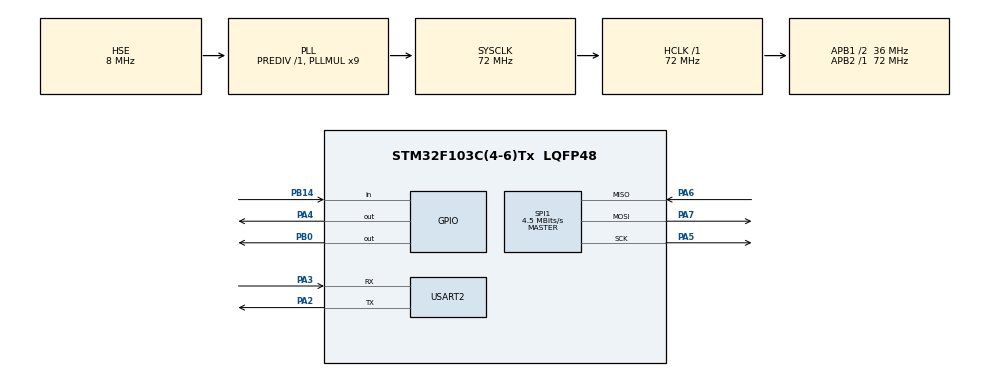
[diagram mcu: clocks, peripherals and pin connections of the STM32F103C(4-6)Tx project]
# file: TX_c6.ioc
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Mcu.Family=STM32F1
Mcu.Name=STM32F103C(4-6)Tx
Mcu.Package=LQFP48
NVIC.PriorityGroup=NVIC_PRIORITYGROUP_4
PA13.Mode=Serial_Wire
PA13.Signal=SYS_JTMS-SWDIO
PA14.Mode=Serial_Wire
PA14.Signal=SYS_JTCK-SWCLK
PA2.Mode=Asynchronous
PA2.Signal=USART2_TX
PA3.Mode=Asynchronous
PA3.Signal=USART2_RX
PA4.Signal=GPIO_Output
PA5.Mode=Full_Duplex_Master
PA5.Signal=SPI1_SCK
PA6.Mode=Full_Duplex_Master
PA6.Signal=SPI1_MISO
PA7.Mode=Full_Duplex_Master
PA7.Signal=SPI1_MOSI
PB0.Signal=GPIO_Output
PB14.GPIO_PuPd=GPIO_PULLDOWN
PB14.Signal=GPIO_Input
PD0-OSC_IN.Mode=HSE-External-Oscillator
PD0-OSC_IN.Signal=RCC_OSC_IN
PD1-OSC_OUT.Mode=HSE-External-Oscillator
PD1-OSC_OUT.Signal=RCC_OSC_OUT
ProjectManager.HeapSize=0x200
ProjectManager.StackSize=0x400
ProjectManager.TargetToolchain=STM32CubeIDE
RCC.AHBFreq_Value=72000000
RCC.APB1CLKDivider=RCC_HCLK_DIV2
RCC.APB1Freq_Value=36000000
RCC.APB1TimFreq_Value=72000000
RCC.APB2Freq_Value=72000000
RCC.APB2TimFreq_Value=72000000
RCC.HCLKFreq_Value=72000000
RCC.PLLMUL=RCC_PLL_MUL9
RCC.PLLSourceVirtual=RCC_PLLSOURCE_HSE
RCC.SYSCLKFreq_VALUE=72000000
RCC.SYSCLKSource=RCC_SYSCLKSOURCE_PLLCLK
RCC.USBFreq_Value=72000000
SPI1.BaudRatePrescaler=SPI_BAUDRATEPRESCALER_16
SPI1.CalculateBaudRate=4.5 MBits/s
SPI1.Direction=SPI_DIRECTION_2LINES
SPI1.Mode=SPI_MODE_MASTER
SPI1.VirtualType=VM_MASTER
USART2.VirtualMode=VM_ASYNC
board=custom

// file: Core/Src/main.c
/* USER CODE BEGIN Header */
/**
  ******************************************************************************
  * @file           : main.c
  * @brief          : Main program body
  ******************************************************************************
  * @attention
  *
  * Copyright (c) 2024 STMicroelectronics.
  * All rights reserved.
  *
  * This software is licensed under terms that can be found in the LICENSE file
  * in the root directory of this software component.
  * If no LICENSE file comes with this software, it is provided AS-IS.
  *
  ******************************************************************************
  */
/* USER CODE END Header */
#include "main.h"

/* USER CODE BEGIN Includes */
#include "NRF24L01.h"
#include "string.h"
/* USER CODE END Includes */

SPI_HandleTypeDef hspi1;

UART_HandleTypeDef huart2;

void SystemClock_Config(void);
static void MX_GPIO_Init(void);
static void MX_SPI1_Init(void);
static void MX_USART2_UART_Init(void);

/* USER CODE BEGIN 0 */
uint8_t TxAddress[] = {0xEE,0xDD,0xCC,0xBB,0xAA};
uint8_t TxData[] = "Add\n";
/* USER CODE END 0 */

int main(void)
{

  /* MCU Configuration--------------------------------------------------------*/

  /* Reset of all peripherals, Initializes the Flash interface and the Systick. */
  HAL_Init();

  /* Configure the system clock */
  SystemClock_Config();

  /* Initialize all configured peripherals */
  MX_GPIO_Init();
  MX_SPI1_Init();
  MX_USART2_UART_Init();
  /* USER CODE BEGIN 2 */
  NRF24_Init();
  NRF24_TxMode(TxAddress, 10);

  uint8_t i = 0;
  uint8_t buttonState = 0;
  uint8_t lastButtonState = 0;
  /* USER CODE END 2 */

  /* Infinite loop */
  while (1)
  {

    /* USER CODE BEGIN 3 */

	  buttonState = HAL_GPIO_ReadPin(GPIOB, GPIO_PIN_14);
	  HAL_Delay(20);
	  lastButtonState = HAL_GPIO_ReadPin(GPIOB, GPIO_PIN_14);

	  if (buttonState == lastButtonState && buttonState + lastButtonState == 2){
	  		i++;
	  		if(i == 5) NRF24_Transmit(TxData);
	  	}
	  	else {
	  		i = 0;
	  	}

  }
  /* USER CODE END 3 */
}

void SystemClock_Config(void)
{
  RCC_OscInitTypeDef RCC_OscInitStruct = {0};
  RCC_ClkInitTypeDef RCC_ClkInitStruct = {0};

  /** Initializes the RCC Oscillators according to the specified parameters
  * in the RCC_OscInitTypeDef structure.
  */
  RCC_OscInitStruct.OscillatorType = RCC_OSCILLATORTYPE_HSE;
  RCC_OscInitStruct.HSEState = RCC_HSE_ON;
  RCC_OscInitStruct.HSEPredivValue = RCC_HSE_PREDIV_DIV1;
  RCC_OscInitStruct.HSIState = RCC_HSI_ON;
  RCC_OscInitStruct.PLL.PLLState = RCC_PLL_ON;
  RCC_OscInitStruct.PLL.PLLSource = RCC_PLLSOURCE_HSE;
  RCC_OscInitStruct.PLL.PLLMUL = RCC_PLL_MUL9;
  if (HAL_RCC_OscConfig(&RCC_OscInitStruct) != HAL_OK)
  {
    Error_Handler();
  }

  /** Initializes the CPU, AHB and APB buses clocks
  */
  RCC_ClkInitStruct.ClockType = RCC_CLOCKTYPE_HCLK|RCC_CLOCKTYPE_SYSCLK
                              |RCC_CLOCKTYPE_PCLK1|RCC_CLOCKTYPE_PCLK2;
  RCC_ClkInitStruct.SYSCLKSource = RCC_SYSCLKSOURCE_PLLCLK;
  RCC_ClkInitStruct.AHBCLKDivider = RCC_SYSCLK_DIV1;
  RCC_ClkInitStruct.APB1CLKDivider = RCC_HCLK_DIV2;
  RCC_ClkInitStruct.APB2CLKDivider = RCC_HCLK_DIV1;

  if (HAL_RCC_ClockConfig(&RCC_ClkInitStruct, FLASH_LATENCY_2) != HAL_OK)
  {
    Error_Handler();
  }
}

static void MX_SPI1_Init(void)
{

  /* SPI1 parameter configuration*/
  hspi1.Instance = SPI1;
  hspi1.Init.Mode = SPI_MODE_MASTER;
  hspi1.Init.Direction = SPI_DIRECTION_2LINES;
  hspi1.Init.DataSize = SPI_DATASIZE_8BIT;
  hspi1.Init.CLKPolarity = SPI_POLARITY_LOW;
  hspi1.Init.CLKPhase = SPI_PHASE_1EDGE;
  hspi1.Init.NSS = SPI_NSS_SOFT;
  hspi1.Init.BaudRatePrescaler = SPI_BAUDRATEPRESCALER_16;
  hspi1.Init.FirstBit = SPI_FIRSTBIT_MSB;
  hspi1.Init.TIMode = SPI_TIMODE_DISABLE;
  hspi1.Init.CRCCalculation = SPI_CRCCALCULATION_DISABLE;
  hspi1.Init.CRCPolynomial = 10;
  if (HAL_SPI_Init(&hspi1) != HAL_OK)
  {
    Error_Handler();
  }

}

static void MX_USART2_UART_Init(void)
{

  huart2.Instance = USART2;
  huart2.Init.BaudRate = 115200;
  huart2.Init.WordLength = UART_WORDLENGTH_8B;
  huart2.Init.StopBits = UART_STOPBITS_1;
  huart2.Init.Parity = UART_PARITY_NONE;
  huart2.Init.Mode = UART_MODE_TX_RX;
  huart2.Init.HwFlowCtl = UART_HWCONTROL_NONE;
  huart2.Init.OverSampling = UART_OVERSAMPLING_16;
  if (HAL_UART_Init(&huart2) != HAL_OK)
  {
    Error_Handler();
  }

}

static void MX_GPIO_Init(void)
{
  GPIO_InitTypeDef GPIO_InitStruct = {0};

  /* GPIO Ports Clock Enable */
  __HAL_RCC_GPIOD_CLK_ENABLE();
  __HAL_RCC_GPIOA_CLK_ENABLE();
  __HAL_RCC_GPIOB_CLK_ENABLE();

  /*Configure GPIO pin Output Level */
  HAL_GPIO_WritePin(GPIOA, GPIO_PIN_4, GPIO_PIN_RESET);

  /*Configure GPIO pin Output Level */
  HAL_GPIO_WritePin(GPIOB, GPIO_PIN_0, GPIO_PIN_RESET);

  /*Configure GPIO pin : PA4 */
  GPIO_InitStruct.Pin = GPIO_PIN_4;
  GPIO_InitStruct.Mode = GPIO_MODE_OUTPUT_PP;
  GPIO_InitStruct.Pull = GPIO_NOPULL;
  GPIO_InitStruct.Speed = GPIO_SPEED_FREQ_LOW;
  HAL_GPIO_Init(GPIOA, &GPIO_InitStruct);

  /*Configure GPIO pin : PB0 */
  GPIO_InitStruct.Pin = GPIO_PIN_0;
  GPIO_InitStruct.Mode = GPIO_MODE_OUTPUT_PP;
  GPIO_InitStruct.Pull = GPIO_NOPULL;
  GPIO_InitStruct.Speed = GPIO_SPEED_FREQ_LOW;
  HAL_GPIO_Init(GPIOB, &GPIO_InitStruct);

  /*Configure GPIO pin : PB14 */
  GPIO_InitStruct.Pin = GPIO_PIN_14;
  GPIO_InitStruct.Mode = GPIO_MODE_INPUT;
  GPIO_InitStruct.Pull = GPIO_PULLDOWN;
  HAL_GPIO_Init(GPIOB, &GPIO_InitStruct);

}

void Error_Handler(void)
{
  __disable_irq();
  while (1)
  {
  }
}
